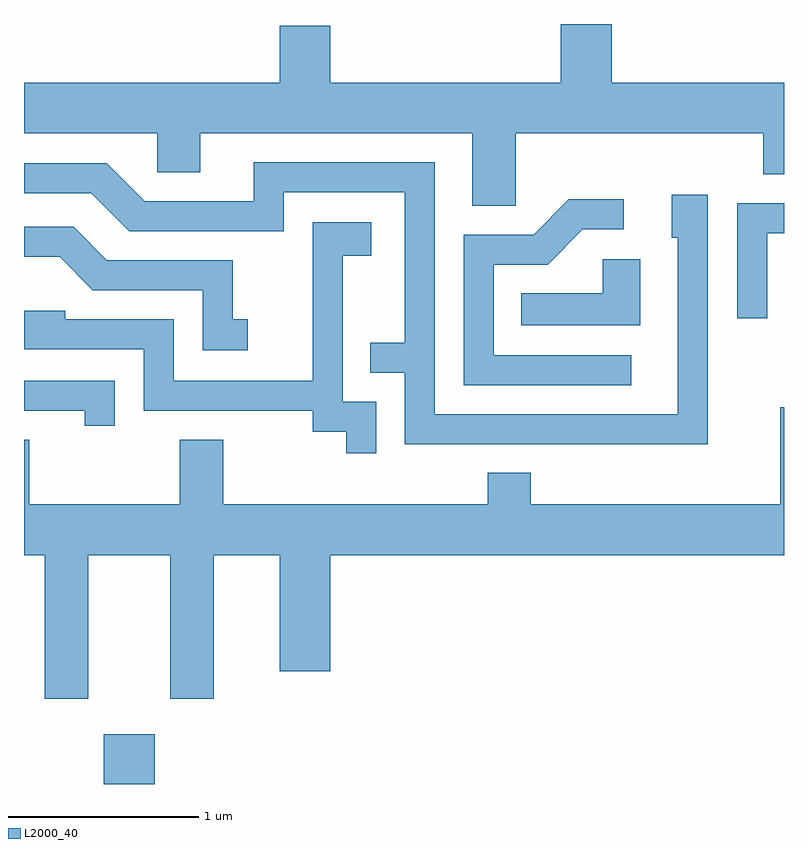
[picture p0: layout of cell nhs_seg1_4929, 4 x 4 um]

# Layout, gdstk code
import gdstk
lib = gdstk.Library(unit=1e-6, precision=1e-09)
def R(c, l, rs):  # rectangles x0, y0, x1, y1
    for r in rs: c.add(gdstk.rectangle(r[:2], r[2:], *l))
def P(c, l, *ps):  # polygons
    for p in ps: c.add(gdstk.Polygon(p, *l))
L2000_40 = (2000, 40)

nhs_seg1_4929 = lib.new_cell('nhs_seg1_4929')
R(nhs_seg1_4929, L2000_40, [(334.031,891.712,334.299,891.974)])
P(nhs_seg1_4929, L2000_40, [(336.199,895.136),(337.501,895.136),(337.501,894.921),(337.611,894.921),(337.611,895.404),(336.704,895.404),(336.704,895.712),(336.436,895.712),(336.436,895.404),(335.224,895.404),(335.224,895.704),(334.956,895.704),(334.956,895.404),(333.611,895.404),(333.611,895.136),(334.311,895.136),(334.311,894.931),(334.539,894.931),(334.539,895.136),(335.971,895.136),(335.971,894.756),(336.199,894.756)],
  [(337.209,894.814),(337.021,894.814),(337.021,894.586),(337.051,894.586),(337.051,893.659),(335.774,893.659),(335.774,894.984),(334.821,894.984),(334.821,894.779),(334.247,894.779),(334.047,894.979),(333.611,894.979),(333.611,894.821),(333.964,894.821),(334.164,894.621),(334.979,894.621),(334.979,894.826),(335.616,894.826),(335.616,894.034),(335.433,894.034),(335.433,893.876),(335.616,893.876),(335.616,893.501),(337.209,893.501)],
  [(336.808,893.969),(336.084,893.969),(336.084,894.446),(336.367,894.446),(336.552,894.631),(336.768,894.631),(336.768,894.789),(336.479,894.789),(336.294,894.604),(335.926,894.604),(335.926,893.811),(336.808,893.811)],
  [(337.524,894.611),(337.611,894.611),(337.611,894.769),(337.366,894.769),(337.366,894.163),(337.524,894.163)],
  [(335.464,893.724),(335.289,893.724),(335.289,894.491),(335.439,894.491),(335.439,894.669),(335.131,894.669),(335.131,893.834),(334.399,893.834),(334.399,894.159),(333.829,894.159),(333.829,894.204),(333.611,894.204),(333.611,894.001),(334.241,894.001),(334.241,893.676),(335.131,893.676),(335.131,893.566),(335.306,893.566),(335.306,893.453),(335.464,893.453)],
  [(334.788,894.159),(334.709,894.159),(334.709,894.469),(334.047,894.469),(333.872,894.644),(333.611,894.644),(333.611,894.486),(333.799,894.486),(333.974,894.311),(334.551,894.311),(334.551,893.996),(334.788,893.996)],
  [(336.854,894.474),(336.656,894.474),(336.656,894.294),(336.228,894.294),(336.228,894.126),(336.854,894.126)],
  [(334.089,893.834),(333.611,893.834),(333.611,893.676),(333.931,893.676),(333.931,893.598),(334.089,893.598)],
  [(333.949,892.916),(334.381,892.916),(334.381,892.161),(334.609,892.161),(334.609,892.916),(334.956,892.916),(334.956,892.306),(335.224,892.306),(335.224,892.916),(337.611,892.916),(337.611,893.694),(337.591,893.694),(337.591,893.184),(336.279,893.184),(336.279,893.349),(336.051,893.349),(336.051,893.184),(334.659,893.184),(334.659,893.524),(334.431,893.524),(334.431,893.184),(333.639,893.184),(333.639,893.524),(333.611,893.524),(333.611,892.916),(333.721,892.916),(333.721,892.161),(333.949,892.161)])

lib.write_gds('nhs_seg1_4929.gds')
